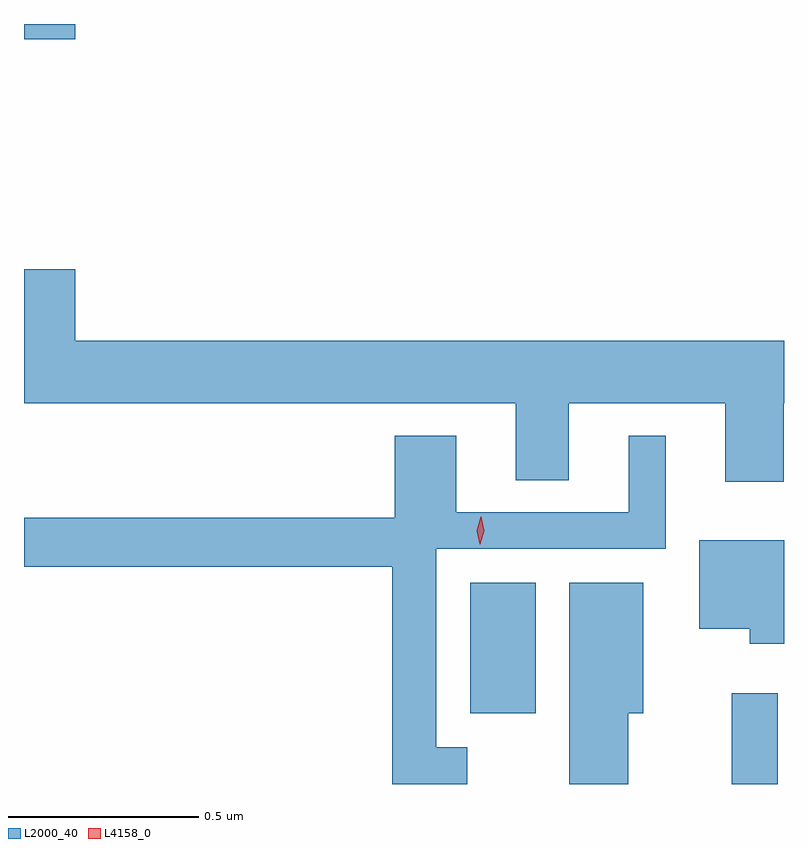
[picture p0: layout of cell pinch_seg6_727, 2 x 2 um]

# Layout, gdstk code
import gdstk
lib = gdstk.Library(unit=1e-6, precision=1e-09)
def R(c, l, rs):  # rectangles x0, y0, x1, y1
    for r in rs: c.add(gdstk.rectangle(r[:2], r[2:], *l))
def P(c, l, *ps):  # polygons
    for p in ps: c.add(gdstk.Polygon(p, *l))
L2000_40 = (2000, 40)
L4158_0 = (4158, 0)

pinch_seg6_727 = lib.new_cell('pinch_seg6_727')
R(pinch_seg6_727, L2000_40, [(394.672,954.326,394.793,954.565), (393.983,954.512,394.156,954.856), (392.809,956.286,392.944,956.326)])
P(pinch_seg6_727, L2000_40, [(394.808,955.328),(394.809,955.328),(394.809,955.492),(392.944,955.492),(392.944,955.681),(392.809,955.681),(392.809,955.328),(394.103,955.328),(394.103,955.126),(394.243,955.126),(394.243,955.328),(394.655,955.328),(394.655,955.122),(394.808,955.122)],
  [(393.976,954.423),(393.894,954.423),(393.894,954.945),(394.498,954.945),(394.498,955.243),(394.4,955.243),(394.4,955.041),(393.946,955.041),(393.946,955.243),(393.785,955.243),(393.785,955.027),(392.809,955.027),(392.809,954.898),(393.778,954.898),(393.778,954.326),(393.976,954.326)],
  [(394.809,954.967),(394.586,954.967),(394.586,954.734),(394.719,954.734),(394.719,954.695),(394.809,954.695)],
  [(394.399,954.512),(394.438,954.512),(394.438,954.856),(394.244,954.856),(394.244,954.326),(394.399,954.326)])
P(pinch_seg6_727, L4158_0, [(394.008,954.957),(394,954.993),(394.011,955.029),(394.012,955.029),(394.012,955.029),(394.02,954.993),(394.009,954.957),(394.009,954.957)])

lib.write_gds('pinch_seg6_727.gds')
